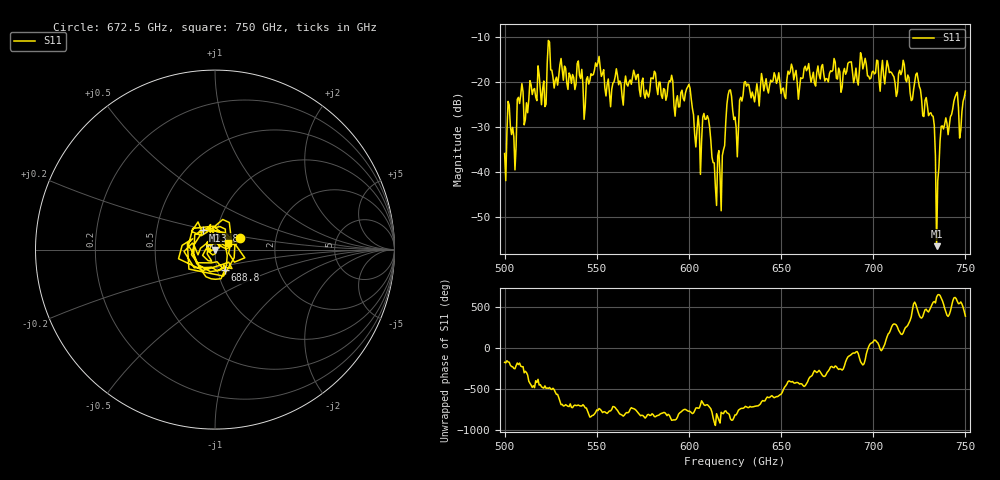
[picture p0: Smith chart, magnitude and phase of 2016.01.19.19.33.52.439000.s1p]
!Created with skrf (http://scikit-rf.org).
# GHz S RI R 50.0
!freq ReS11 ImS11
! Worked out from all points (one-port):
!   401 points, 500 GHz to 750 GHz, reference 50 ohm
!   lowest |S11| = -56.5 dB at 734.4 GHz (marker M1), VSWR 1.00, Z = 50 - j0.147 ohm
!   |S11| at or under -10 dB: start of sweep to end of sweep
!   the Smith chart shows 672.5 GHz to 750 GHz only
!   S11 on the Smith chart (normalised r, x): 672.5 GHz: 1.31, +0.18; 688.8 GHz: 1.08, -0.25; 723.8 GHz: 0.86, +0.19; 750 GHz: 1.15, +0.08
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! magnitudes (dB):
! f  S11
! 500 GHz  -35.9
! 502.5 GHz  -25.2
! 505 GHz  -32.2
! 508.1 GHz  -24.8
! 511.9 GHz  -24.7
! 521.2 GHz  -19.9
! 524.4 GHz  -11.2
! 531.2 GHz  -17.4
! 562.5 GHz  -19.8
! 590 GHz  -20.0
! 593.8 GHz  -23.1
! 600 GHz  -20.6
! 605 GHz  -27.6
! 609.4 GHz  -28.3
! 616.2 GHz  -35.3
! 621.9 GHz  -21.9
! 625 GHz  -27.9
! 631.2 GHz  -21.0
! 656.2 GHz  -17.0
! 672.5 GHz  -16.2
! 687.5 GHz  -15.6
! 688.8 GHz  -17.9
! 718.8 GHz  -18.5
! 723.8 GHz  -18.1
! 731.9 GHz  -27.5
! 734.4 GHz  -56.5
! 738.1 GHz  -30.5
! 750 GHz  -22.1
